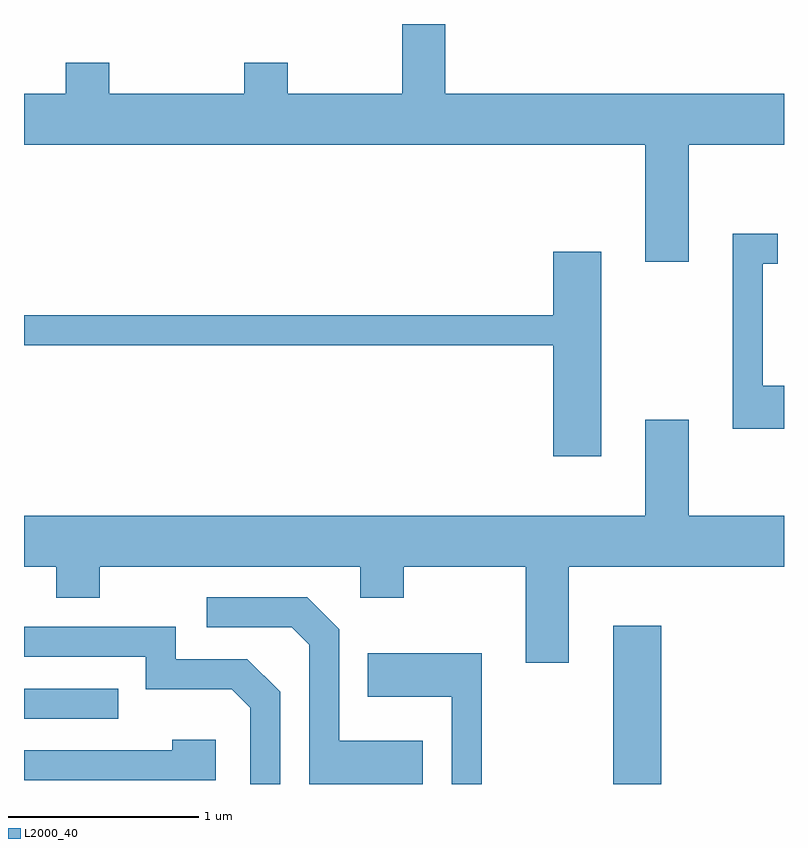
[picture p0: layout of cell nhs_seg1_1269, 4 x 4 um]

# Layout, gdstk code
import gdstk
lib = gdstk.Library(unit=1e-6, precision=1e-09)
def R(c, l, rs):  # rectangles x0, y0, x1, y1
    for r in rs: c.add(gdstk.rectangle(r[:2], r[2:], *l))
def P(c, l, *ps):  # polygons
    for p in ps: c.add(gdstk.Polygon(p, *l))
L2000_40 = (2000, 40)

nhs_seg1_1269 = lib.new_cell('nhs_seg1_1269')
R(nhs_seg1_1269, L2000_40, [(226.711,951.712,226.964,952.544), (223.611,952.056,224.108,952.214)])
P(nhs_seg1_1269, L2000_40, [(227.109,955.076),(227.611,955.076),(227.611,955.344),(225.829,955.344),(225.829,955.712),(225.601,955.712),(225.601,955.344),(224.999,955.344),(224.999,955.509),(224.771,955.509),(224.771,955.344),(224.059,955.344),(224.059,955.509),(223.831,955.509),(223.831,955.344),(223.611,955.344),(223.611,955.076),(226.881,955.076),(226.881,954.461),(227.109,954.461)],
  [(227.611,953.809),(227.499,953.809),(227.499,954.451),(227.578,954.451),(227.578,954.609),(227.341,954.609),(227.341,953.581),(227.611,953.581)],
  [(226.649,954.514),(226.396,954.514),(226.396,954.179),(223.611,954.179),(223.611,954.021),(226.396,954.021),(226.396,953.436),(226.649,953.436)],
  [(226.479,952.856),(227.611,952.856),(227.611,953.124),(227.109,953.124),(227.109,953.629),(226.881,953.629),(226.881,953.124),(223.611,953.124),(223.611,952.856),(223.781,952.856),(223.781,952.691),(224.009,952.691),(224.009,952.856),(225.381,952.856),(225.381,952.691),(225.609,952.691),(225.609,952.856),(226.251,952.856),(226.251,952.351),(226.479,952.351)],
  [(225.709,951.939),(225.269,951.939),(225.269,952.527),(225.102,952.694),(224.573,952.694),(224.573,952.536),(225.019,952.536),(225.111,952.444),(225.111,951.712),(225.709,951.712)],
  [(224.959,952.197),(224.787,952.369),(224.409,952.369),(224.409,952.539),(223.611,952.539),(223.611,952.381),(224.251,952.381),(224.251,952.211),(224.704,952.211),(224.801,952.114),(224.801,951.712),(224.959,951.712)],
  [(226.019,952.399),(225.421,952.399),(225.421,952.171),(225.861,952.171),(225.861,951.712),(226.019,951.712)],
  [(224.619,951.944),(224.391,951.944),(224.391,951.889),(223.611,951.889),(223.611,951.731),(224.619,951.731)])

lib.write_gds('nhs_seg1_1269.gds')
